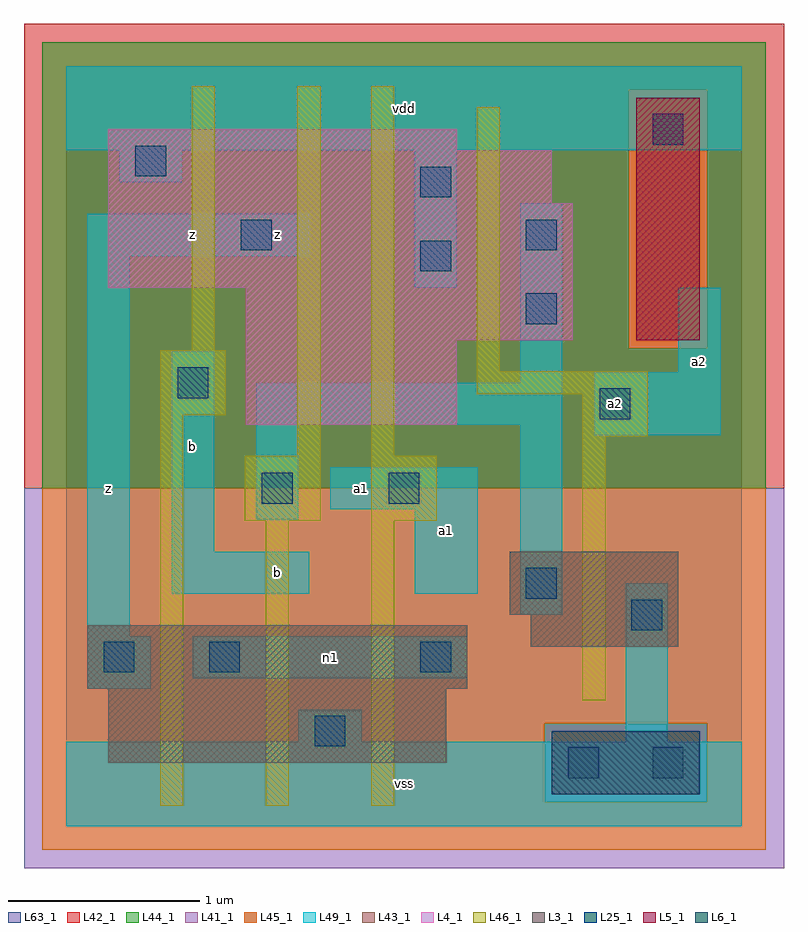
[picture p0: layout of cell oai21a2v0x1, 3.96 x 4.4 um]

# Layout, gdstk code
import gdstk
lib = gdstk.Library(unit=1e-6, precision=1e-09)
def R(c, l, rs):  # rectangles x0, y0, x1, y1
    for r in rs: c.add(gdstk.rectangle(r[:2], r[2:], *l))
L3_1 = (3, 1)
L4_1 = (4, 1)
L5_1 = (5, 1)
L6_1 = (6, 1)
L25_1 = (25, 1)
L41_1 = (41, 1)
L42_1 = (42, 1)
L43_1 = (43, 1)
L44_1 = (44, 1)
L45_1 = (45, 1)
L46_1 = (46, 1)
L49_1 = (49, 1)
L63_1 = (63, 1)

oai21a2v0x1 = lib.new_cell('oai21a2v0x1')
R(oai21a2v0x1, L3_1, [(0.22,0.33,1.98,0.715), (0.11,0.715,2.09,1.045), (2.42,0.935,3.19,1.1), (2.31,1.1,3.19,1.43)])
R(oai21a2v0x1, L4_1, [(0.935,2.09,2.035,2.53), (0.935,2.53,2.64,2.805), (0.22,2.805,2.64,3.245), (0.22,3.245,2.53,3.52), (0.22,3.52,2.035,3.63)])
R(oai21a2v0x1, L5_1, [(2.97,2.53,3.3,3.795)])
R(oai21a2v0x1, L6_1, [(2.53,0.165,3.3,0.495)])
R(oai21a2v0x1, L25_1, [(2.615,0.25,2.775,0.41), (3.055,0.25,3.215,0.41), (1.295,0.415,1.455,0.575), (0.195,0.8,0.355,0.96), (0.745,0.8,0.905,0.96), (1.845,0.8,2.005,0.96), (2.945,1.02,3.105,1.18), (2.395,1.185,2.555,1.345), (1.02,1.68,1.18,1.84), (1.68,1.68,1.84,1.84), (2.78,2.12,2.94,2.28), (0.58,2.23,0.74,2.39), (2.395,2.615,2.555,2.775), (1.845,2.89,2.005,3.05), (0.91,3,1.07,3.16), (2.395,3,2.555,3.16), (1.845,3.275,2.005,3.435), (0.36,3.385,0.52,3.545), (3.055,3.55,3.215,3.71)])
R(oai21a2v0x1, L41_1, [(-0.22,-0.22,3.74,1.76)])
R(oai21a2v0x1, L42_1, [(-0.22,1.76,3.74,4.18)])
R(oai21a2v0x1, L43_1, [(2.53,0.165,3.3,0.495), (0.22,0.33,1.98,0.715), (0.11,0.715,2.09,1.045), (2.42,0.935,3.19,1.1), (2.31,1.1,3.19,1.43), (0.935,2.09,2.035,2.53), (0.935,2.53,2.64,2.805), (2.97,2.53,3.3,3.795), (0.22,2.805,2.64,3.245), (0.22,3.245,2.53,3.52), (0.22,3.52,2.035,3.63)])
R(oai21a2v0x1, L44_1, [(2.49,0.125,3.34,0.535), (-0.125,1.76,3.645,2.49), (-0.125,2.49,2.93,3.835), (3.34,2.49,3.645,3.835), (-0.125,3.835,3.645,4.085)])
R(oai21a2v0x1, L45_1, [(-0.125,-0.125,3.645,0.125), (-0.125,0.125,2.49,0.535), (3.34,0.125,3.645,0.535), (-0.125,0.535,3.645,1.76), (2.93,2.49,3.34,3.835)])
R(oai21a2v0x1, L46_1, [(0.49,0.105,0.61,2.14), (1.04,0.105,1.16,1.59), (1.59,0.105,1.71,1.59), (2.69,0.655,2.81,2.03), (0.93,1.59,1.325,1.93), (1.59,1.59,1.93,1.93), (1.205,1.93,1.325,3.855), (1.59,1.93,1.71,3.855), (2.69,2.03,3.03,2.25), (0.49,2.14,0.83,2.48), (2.14,2.25,3.03,2.37), (2.14,2.37,2.26,3.745), (0.655,2.48,0.775,3.855)])
R(oai21a2v0x1, L49_1, [(0,0,3.52,0.44), (1.21,0.44,1.54,0.605), (2.915,0.44,3.135,1.265), (0.11,0.715,0.44,0.99), (0.66,0.77,2.09,0.99), (0.11,0.99,0.33,2.97), (2.365,1.1,2.585,2.09), (0.55,1.21,1.265,1.43), (1.815,1.21,2.145,1.65), (0.55,1.43,0.77,2.475), (0.99,1.595,1.21,2.09), (1.375,1.65,2.145,1.87), (2.75,2.035,3.41,2.365), (0.99,2.09,2.585,2.31), (2.365,2.31,2.585,3.245), (3.19,2.365,3.41,2.805), (1.815,2.805,2.035,3.52), (0.11,2.97,1.265,3.19), (0.275,3.355,0.605,3.52), (0,3.52,3.52,3.96)])
R(oai21a2v0x1, L63_1, [(0,0,3.52,3.96)])
oai21a2v0x1.add(gdstk.Label('z', (0.22,1.76), layer=49, texttype=1))
oai21a2v0x1.add(gdstk.Label('b', (0.66,1.98), layer=49, texttype=1))
oai21a2v0x1.add(gdstk.Label('z', (0.66,3.08), layer=49, texttype=1))
oai21a2v0x1.add(gdstk.Label('b', (1.1,1.32), layer=49, texttype=1))
oai21a2v0x1.add(gdstk.Label('a1', (1.54,1.76), layer=49, texttype=1))
oai21a2v0x1.add(gdstk.Label('z', (1.1,3.08), layer=49, texttype=1))
oai21a2v0x1.add(gdstk.Label('vss', (1.76,0.22), layer=49, texttype=1))
oai21a2v0x1.add(gdstk.Label('n1', (1.375,0.88), layer=49, texttype=1))
oai21a2v0x1.add(gdstk.Label('a1', (1.98,1.54), layer=49, texttype=1))
oai21a2v0x1.add(gdstk.Label('vdd', (1.76,3.74), layer=49, texttype=1))
oai21a2v0x1.add(gdstk.Label('a2', (2.86,2.2), layer=49, texttype=1))
oai21a2v0x1.add(gdstk.Label('a2', (3.3,2.42), layer=49, texttype=1))

lib.write_gds('oai21a2v0x1.gds')
